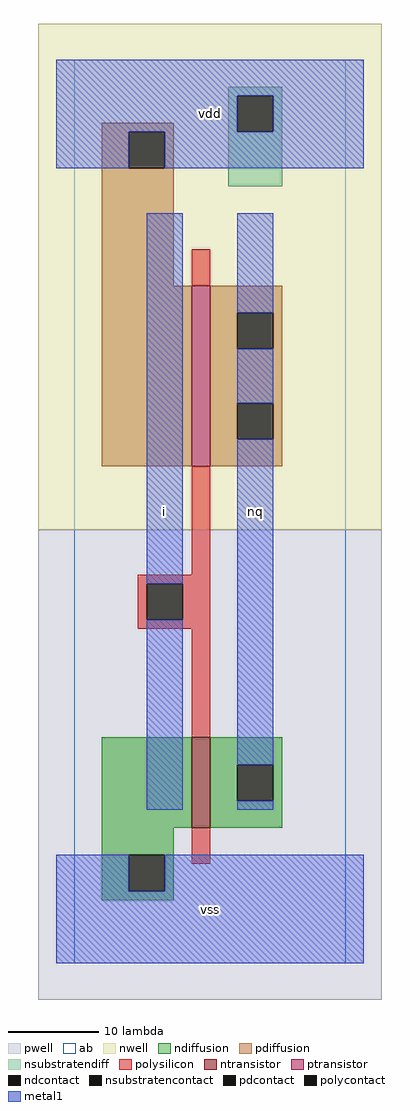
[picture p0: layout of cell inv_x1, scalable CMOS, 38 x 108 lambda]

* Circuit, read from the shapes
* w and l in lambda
.subckt inv_x1 i nq vdd vss
M1 nq i vss VSUBS nfet w=10 l=2
M2 nq i vdd vdd pfet w=20 l=2
.ends

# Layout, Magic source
magic
tech scmos
<< ab >>
rect 0 0 30 100
<< pwell >>
rect -4 -4 34 48
<< nwell >>
rect -4 48 34 104
<< polysilicon >>
rect 13 75 15 79
rect 13 43 15 55
rect 7 42 15 43
rect 7 38 8 42
rect 12 38 15 42
rect 7 37 15 38
rect 13 25 15 37
rect 13 11 15 15
<< ndiffusion >>
rect 3 15 13 25
rect 15 22 23 25
rect 15 18 18 22
rect 22 18 23 22
rect 15 15 23 18
rect 3 12 11 15
rect 3 8 6 12
rect 10 8 11 12
rect 3 7 11 8
<< pdiffusion >>
rect 3 92 11 93
rect 3 88 6 92
rect 10 88 11 92
rect 3 75 11 88
rect 3 55 13 75
rect 15 72 23 75
rect 15 68 18 72
rect 22 68 23 72
rect 15 62 23 68
rect 15 58 18 62
rect 22 58 23 62
rect 15 55 23 58
<< metal1 >>
rect -2 96 32 100
rect -2 92 18 96
rect 22 92 32 96
rect -2 88 6 92
rect 10 88 32 92
rect 8 42 12 83
rect 8 17 12 38
rect 18 72 22 83
rect 18 62 22 68
rect 18 22 22 58
rect 18 17 22 18
rect -2 8 6 12
rect 10 8 32 12
rect -2 0 32 8
<< ntransistor >>
rect 13 15 15 25
<< ptransistor >>
rect 13 55 15 75
<< polycontact >>
rect 8 38 12 42
<< ndcontact >>
rect 18 18 22 22
rect 6 8 10 12
<< pdcontact >>
rect 6 88 10 92
rect 18 68 22 72
rect 18 58 22 62
<< nsubstratencontact >>
rect 18 92 22 96
<< nsubstratendiff >>
rect 17 96 23 97
rect 17 92 18 96
rect 22 92 23 96
rect 17 86 23 92
<< labels >>
rlabel metal1 15 6 15 6 6 vss
rlabel metal1 10 50 10 50 6 i
rlabel metal1 15 94 15 94 6 vdd
rlabel metal1 20 50 20 50 6 nq
<< end >>
